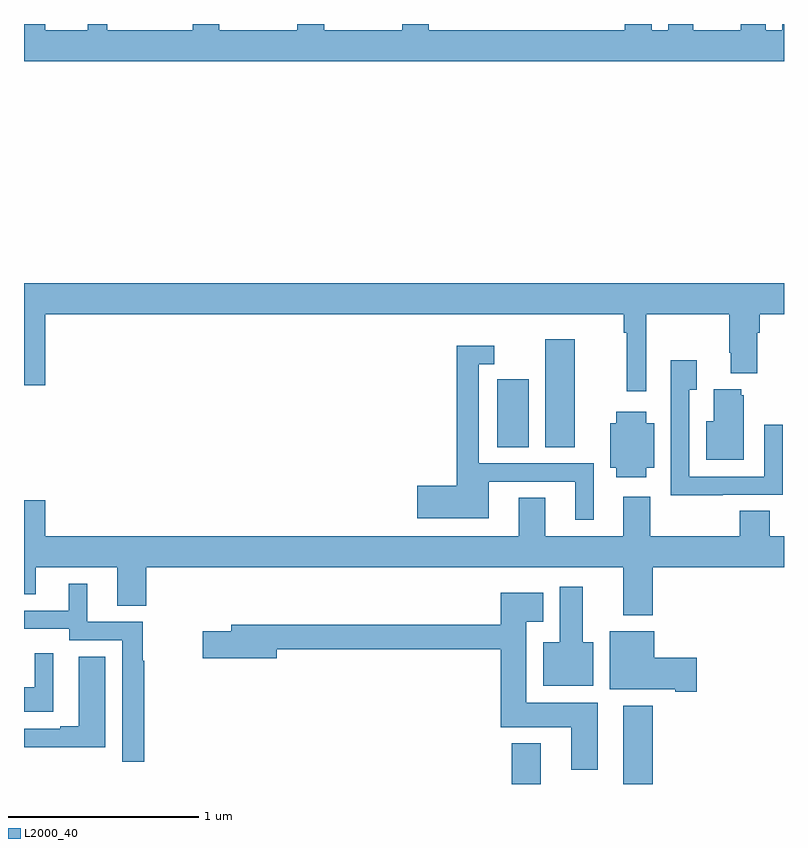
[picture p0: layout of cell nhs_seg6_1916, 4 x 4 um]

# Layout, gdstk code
import gdstk
lib = gdstk.Library(unit=1e-6, precision=1e-09)
def R(c, l, rs):  # rectangles x0, y0, x1, y1
    for r in rs: c.add(gdstk.rectangle(r[:2], r[2:], *l))
def P(c, l, *ps):  # polygons
    for p in ps: c.add(gdstk.Polygon(p, *l))
L2000_40 = (2000, 40)

nhs_seg6_1916 = lib.new_cell('nhs_seg6_1916')
R(nhs_seg6_1916, L2000_40, [(227.567,975.5,227.719,975.715), (228.155,975.5,228.308,975.913), (227.492,977.272,227.656,977.629), (227.744,977.272,227.899,977.842)])
P(nhs_seg6_1916, L2000_40, [(229,979.5),(228.992,979.5),(228.992,979.468),(228.904,979.468),(228.904,979.5),(228.773,979.5),(228.773,979.468),(228.523,979.468),(228.523,979.5),(228.392,979.5),(228.392,979.468),(228.304,979.468),(228.304,979.5),(228.161,979.5),(228.161,979.468),(227.131,979.468),(227.131,979.5),(226.991,979.5),(226.991,979.468),(226.579,979.468),(226.579,979.5),(226.439,979.5),(226.439,979.468),(226.027,979.468),(226.027,979.5),(225.888,979.5),(225.888,979.468),(225.439,979.468),(225.439,979.5),(225.335,979.5),(225.335,979.468),(225.112,979.468),(225.112,979.5),(225,979.5),(225,979.304),(229,979.304)],
  [(225,977.598),(225.112,977.598),(225.112,977.972),(228.157,977.972),(228.157,977.876),(228.172,977.876),(228.172,977.568),(228.274,977.568),(228.274,977.972),(228.712,977.972),(228.712,977.77),(228.719,977.77),(228.719,977.663),(228.859,977.663),(228.859,977.876),(228.872,977.876),(228.872,977.972),(229,977.972),(229,978.136),(225,978.136)],
  [(227.998,977.187),(227.394,977.187),(227.394,977.709),(227.476,977.709),(227.476,977.806),(227.278,977.806),(227.278,977.069),(227.07,977.069),(227.07,976.898),(227.446,976.898),(227.446,977.091),(227.9,977.091),(227.9,976.89),(227.998,976.89)],
  [(228.677,977.022),(228.993,977.022),(228.993,977.392),(228.897,977.392),(228.897,977.118),(228.501,977.118),(228.501,977.575),(228.541,977.575),(228.541,977.731),(228.404,977.731),(228.404,977.494),(228.405,977.494),(228.405,977.021),(228.677,977.021)],
  [(228.787,977.547),(228.776,977.547),(228.776,977.578),(228.629,977.578),(228.629,977.41),(228.59,977.41),(228.59,977.207),(228.787,977.207)],
  [(228.274,977.165),(228.316,977.165),(228.316,977.398),(228.274,977.398),(228.274,977.458),(228.116,977.458),(228.116,977.398),(228.086,977.398),(228.086,977.165),(228.116,977.165),(228.116,977.114),(228.274,977.114)],
  [(228.308,976.64),(229,976.64),(229,976.804),(228.926,976.804),(228.926,976.937),(228.766,976.937),(228.766,976.804),(228.295,976.804),(228.295,977.011),(228.155,977.011),(228.155,976.804),(227.743,976.804),(227.743,977.006),(227.603,977.006),(227.603,976.804),(225.112,976.804),(225.112,976.993),(225,976.993),(225,976.498),(225.061,976.498),(225.061,976.64),(225.491,976.64),(225.491,976.438),(225.644,976.438),(225.644,976.64),(228.155,976.64),(228.155,976.388),(228.308,976.388)],
  [(225.632,976.15),(225.625,976.15),(225.625,976.353),(225.334,976.353),(225.334,976.555),(225.236,976.555),(225.236,976.413),(225,976.413),(225,976.317),(225.237,976.317),(225.237,976.257),(225.516,976.257),(225.516,975.618),(225.632,975.618)],
  [(227.995,976.246),(227.941,976.246),(227.941,976.537),(227.819,976.537),(227.819,976.246),(227.732,976.246),(227.732,976.016),(227.995,976.016)],
  [(228.019,975.928),(227.644,975.928),(227.644,976.355),(227.734,976.355),(227.734,976.507),(227.51,976.507),(227.51,976.339),(226.091,976.339),(226.091,976.305),(225.942,976.305),(225.942,976.163),(226.33,976.163),(226.33,976.21),(227.51,976.21),(227.51,975.8),(227.879,975.8),(227.879,975.576),(228.019,975.576)],
  [(228.541,976.164),(228.316,976.164),(228.316,976.303),(228.083,976.303),(228.083,975.998),(228.428,975.998),(228.428,975.986),(228.541,975.986)],
  [(225.154,976.189),(225.056,976.189),(225.056,976.009),(225,976.009),(225,975.881),(225.154,975.881)],
  [(225.427,976.171),(225.287,976.171),(225.287,975.805),(225.191,975.805),(225.191,975.792),(225,975.792),(225,975.694),(225.427,975.694)])

lib.write_gds('nhs_seg6_1916.gds')
